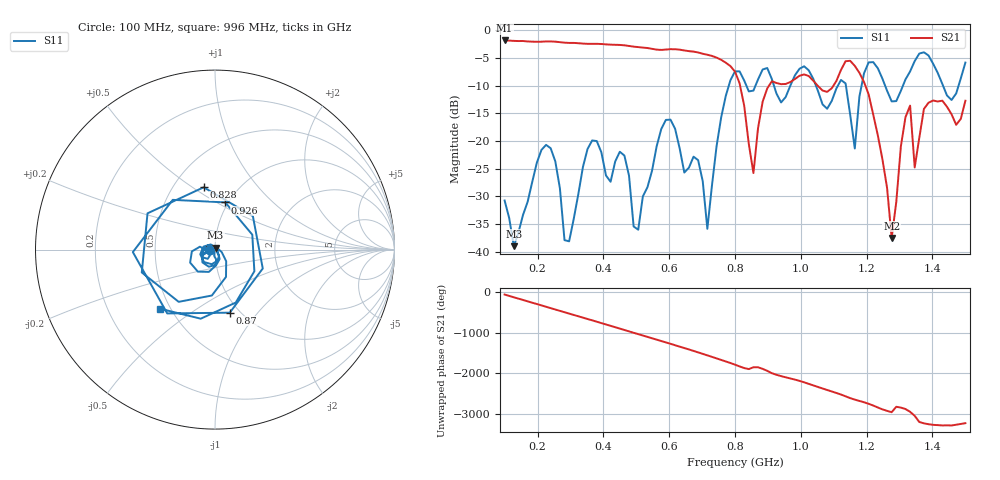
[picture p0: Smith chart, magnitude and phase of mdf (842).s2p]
! NanoVNA-App
! Date: 2025-09-25 15:44:58
! Start: 100MHz Stop: 1,5GHz Points: 101
! S-Parameter data: F S11 S21 S12 S22
# Hz S RI R 50
!  Frequency  S11_Real  S11_Imag  S21_Real  S21_Imag  S12_Real  S12_Imag  S22_Real  S22_Imag
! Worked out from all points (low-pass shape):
!   101 points, 100 MHz to 1.5 GHz, reference 50 ohm
!   highest |S21| = -1.80 dB at 100 MHz (marker M1); lowest = -37.5 dB at 1.276 GHz (marker M2)
!   |S21| within 3 dB of the highest: start of sweep to 739.4 MHz
!   lowest |S11| = -39.0 dB at 128 MHz (marker M3), VSWR 1.02, Z = 50.3 + j1.08 ohm
!   |S11| at or under -10 dB: start of sweep to 781.1 MHz; 1.046 GHz to 1.112 GHz (66.38 MHz wide, 6.15 % of centre); 1.256 GHz to 1.31 GHz (53.86 MHz wide, 4.2 % of centre) (the widest 3 of 7)
!   S12 and S22 are empty: the file has one direction only
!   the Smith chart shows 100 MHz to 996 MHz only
!   S11 on the Smith chart (normalised r, x): 100 MHz: 0.94, -0.01; 828 MHz: 0.70, +0.55; 870 MHz: 0.90, -0.73; 926 MHz: 0.97, +0.55; 996 MHz: 0.44, -0.36
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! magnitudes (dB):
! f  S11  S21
! 100 MHz  -30.7  -1.8
! 128 MHz  -39.0  -1.9
! 212 MHz  -21.6  -2.0
! 282 MHz  -37.9  -2.2
! 338 MHz  -24.7  -2.4
! 464 MHz  -22.6  -2.7
! 506 MHz  -36.0  -3.0
! 576 MHz  -17.8  -3.5
! 716 MHz  -35.8  -4.4
! 800 MHz  -7.4  -7.4
! 828 MHz  -9.1  -13.6
! 856 MHz  -10.9  -25.8
! 870 MHz  -8.9  -17.7
! 926 MHz  -11.4  -9.5
! 996 MHz  -6.9  -8.2
! 1.038 GHz  -8.8  -9.1
! 1.164 GHz  -21.3  -6.4
! 1.192 GHz  -7.7  -9.3
! 1.276 GHz  -12.8  -37.5
! 1.332 GHz  -7.4  -13.6
! 1.346 GHz  -5.5  -24.8
! 1.5 GHz  -5.8  -12.7
